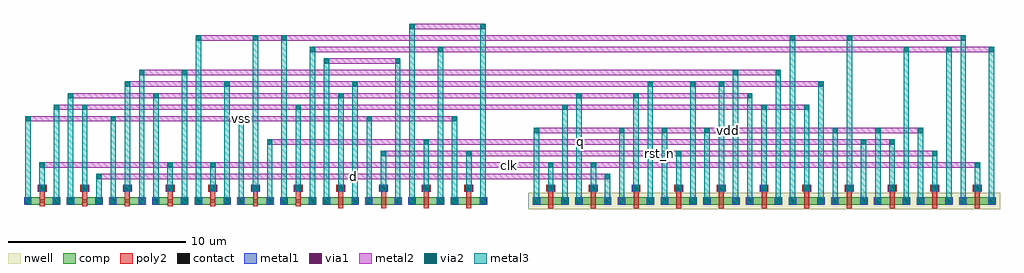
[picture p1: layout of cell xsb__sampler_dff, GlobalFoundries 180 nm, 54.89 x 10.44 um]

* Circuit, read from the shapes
.subckt xsb__sampler_dff clk d q rst_n vdd vss
XM1 n1 clk vss VSUBS nfet_03v3 w=0.22u l=0.28u
XM2 d n1 n2 VSUBS nfet_03v3 w=0.22u l=0.28u
XM3 n3 n4 vss VSUBS nfet_03v3 w=0.22u l=0.28u
XM4 n3 clk n2 VSUBS nfet_03v3 w=0.22u l=0.28u
XM5 n4 clk n5 VSUBS nfet_03v3 w=0.22u l=0.28u
XM6 q n5 vss VSUBS nfet_03v3 w=0.22u l=0.28u
XM7 n6 n1 n5 VSUBS nfet_03v3 w=0.22u l=0.28u
XM8 n4 n2 n7 VSUBS nfet_03v3 w=0.44u l=0.28u
XM9 n7 rst_n vss VSUBS nfet_03v3 w=0.44u l=0.28u
XM10 n6 q n8 VSUBS nfet_03v3 w=0.44u l=0.28u
XM11 n8 rst_n vss VSUBS nfet_03v3 w=0.44u l=0.28u
XM12 n1 clk vdd n9 pfet_03v3 w=0.44u l=0.28u
XM13 d clk n2 n9 pfet_03v3 w=0.44u l=0.28u
XM14 n4 n2 vdd n9 pfet_03v3 w=0.44u l=0.28u
XM15 n4 rst_n vdd n9 pfet_03v3 w=0.44u l=0.28u
XM16 n3 n4 vdd n9 pfet_03v3 w=0.44u l=0.28u
XM17 n3 n1 n2 n9 pfet_03v3 w=0.44u l=0.28u
XM18 n4 n1 n5 n9 pfet_03v3 w=0.44u l=0.28u
XM19 q n5 vdd n9 pfet_03v3 w=0.44u l=0.28u
XM20 n6 q vdd n9 pfet_03v3 w=0.44u l=0.28u
XM21 n6 rst_n vdd n9 pfet_03v3 w=0.44u l=0.28u
XM22 n6 clk n5 n9 pfet_03v3 w=0.44u l=0.28u
.ends

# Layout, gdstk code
import gdstk
lib = gdstk.Library(unit=1e-6, precision=1e-09)
def R(c, l, rs):  # rectangles x0, y0, x1, y1
    for r in rs: c.add(gdstk.rectangle(r[:2], r[2:], *l))
def A(c, l, x, y, w, h, nx, ny, dx, dy):  # array of equal rectangles
    R(c, l, [(x+i*dx, y+j*dy, x+i*dx+w, y+j*dy+h) for i in range(nx) for j in range(ny)])
nwell = (21, 0)
comp = (22, 0)
poly2 = (30, 0)
contact = (33, 0)
metal1 = (34, 0)
via1 = (35, 0)
metal2 = (36, 0)
via2 = (38, 0)
metal3 = (42, 0)

xsb__sampler_dff = lib.new_cell('xsb__sampler_dff')
R(xsb__sampler_dff, nwell, [(28.13,0.53,54.67,1.47)])
A(xsb__sampler_dff, comp, 16.58, 0.78, 2.04, 0.44, 4, 1, 2.4, 0)
A(xsb__sampler_dff, comp, 28.38, 0.78, 2.04, 0.44, 11, 1, 2.4, 0)
A(xsb__sampler_dff, comp, 0.66, 0.89, 0.28, 0.22, 7, 1, 2.4, 0)
R(xsb__sampler_dff, comp, [(-0.22,0.78,0.66,1.22), (0.94,0.78,1.82,1.22), (2.18,0.78,3.06,1.22), (3.34,0.78,4.22,1.22), (4.58,0.78,5.46,1.22), (5.74,0.78,6.62,1.22), (6.98,0.78,7.86,1.22), (8.14,0.78,9.02,1.22), (9.38,0.78,10.26,1.22), (10.54,0.78,11.42,1.22), (11.78,0.78,12.66,1.22), (12.94,0.78,13.82,1.22), (14.18,0.78,15.06,1.22), (15.34,0.78,16.22,1.22)])
A(xsb__sampler_dff, poly2, 17.46, 0.58, 0.28, 0.99, 4, 1, 2.4, 0)
A(xsb__sampler_dff, poly2, 29.26, 0.58, 0.28, 0.99, 11, 1, 2.4, 0)
A(xsb__sampler_dff, poly2, 0.66, 0.69, 0.28, 0.88, 7, 1, 2.4, 0)
A(xsb__sampler_dff, poly2, 0.55, 1.52, 0.5, 0.4, 11, 1, 2.4, 0)
A(xsb__sampler_dff, poly2, 29.15, 1.52, 0.5, 0.4, 11, 1, 2.4, 0)
A(xsb__sampler_dff, contact, 0.69, 1.61, 0.22, 0.22, 11, 1, 2.4, 0)
A(xsb__sampler_dff, contact, 29.29, 1.61, 0.22, 0.22, 11, 1, 2.4, 0)
R(xsb__sampler_dff, contact, [(-0.11,0.89,0.11,1.11), (1.49,0.89,1.71,1.11), (2.29,0.89,2.51,1.11), (3.89,0.89,4.11,1.11), (4.69,0.89,4.91,1.11), (6.29,0.89,6.51,1.11), (7.09,0.89,7.31,1.11), (8.69,0.89,8.91,1.11), (9.49,0.89,9.71,1.11), (11.09,0.89,11.31,1.11), (11.89,0.89,12.11,1.11), (13.49,0.89,13.71,1.11), (14.29,0.89,14.51,1.11), (15.89,0.89,16.11,1.11), (16.69,0.89,16.91,1.11), (18.29,0.89,18.51,1.11), (19.09,0.89,19.31,1.11), (20.69,0.89,20.91,1.11), (21.49,0.89,21.71,1.11), (23.09,0.89,23.31,1.11), (23.89,0.89,24.11,1.11), (25.49,0.89,25.71,1.11), (28.49,0.89,28.71,1.11), (30.09,0.89,30.31,1.11), (30.89,0.89,31.11,1.11), (32.49,0.89,32.71,1.11), (33.29,0.89,33.51,1.11), (34.89,0.89,35.11,1.11), (35.69,0.89,35.91,1.11), (37.29,0.89,37.51,1.11), (38.09,0.89,38.31,1.11), (39.69,0.89,39.91,1.11), (40.49,0.89,40.71,1.11), (42.09,0.89,42.31,1.11), (42.89,0.89,43.11,1.11), (44.49,0.89,44.71,1.11), (45.29,0.89,45.51,1.11), (46.89,0.89,47.11,1.11), (47.69,0.89,47.91,1.11), (49.29,0.89,49.51,1.11), (50.09,0.89,50.31,1.11), (51.69,0.89,51.91,1.11), (52.49,0.89,52.71,1.11), (54.09,0.89,54.31,1.11)])
A(xsb__sampler_dff, metal1, 0.6, 1.52, 0.4, 0.4, 11, 1, 2.4, 0)
A(xsb__sampler_dff, metal1, 29.2, 1.52, 0.4, 0.4, 11, 1, 2.4, 0)
R(xsb__sampler_dff, metal1, [(-0.2,0.8,0.2,1.2), (1.4,0.8,1.8,1.2), (2.2,0.8,2.6,1.2), (3.8,0.8,4.2,1.2), (4.6,0.8,5,1.2), (6.2,0.8,6.6,1.2), (7,0.8,7.4,1.2), (8.6,0.8,9,1.2), (9.4,0.8,9.8,1.2), (11,0.8,11.4,1.2), (11.8,0.8,12.2,1.2), (13.4,0.8,13.8,1.2), (14.2,0.8,14.6,1.2), (15.8,0.8,16.2,1.2), (16.6,0.8,17,1.2), (18.2,0.8,18.6,1.2), (19,0.8,19.4,1.2), (20.6,0.8,21,1.2), (21.4,0.8,21.8,1.2), (23,0.8,23.4,1.2), (23.8,0.8,24.2,1.2), (25.4,0.8,25.8,1.2), (28.4,0.8,28.8,1.2), (30,0.8,30.4,1.2), (30.8,0.8,31.2,1.2), (32.4,0.8,32.8,1.2), (33.2,0.8,33.6,1.2), (34.8,0.8,35.2,1.2), (35.6,0.8,36,1.2), (37.2,0.8,37.6,1.2), (38,0.8,38.4,1.2), (39.6,0.8,40,1.2), (40.4,0.8,40.8,1.2), (42,0.8,42.4,1.2), (42.8,0.8,43.2,1.2), (44.4,0.8,44.8,1.2), (45.2,0.8,45.6,1.2), (46.8,0.8,47.2,1.2), (47.6,0.8,48,1.2), (49.2,0.8,49.6,1.2), (50,0.8,50.4,1.2), (51.6,0.8,52,1.2), (52.4,0.8,52.8,1.2), (54,0.8,54.4,1.2)])
A(xsb__sampler_dff, via1, 0.67, 1.59, 0.26, 0.26, 11, 1, 2.4, 0)
A(xsb__sampler_dff, via1, 29.27, 1.59, 0.26, 0.26, 11, 1, 2.4, 0)
R(xsb__sampler_dff, via1, [(-0.13,0.87,0.13,1.13), (1.47,0.87,1.73,1.13), (2.27,0.87,2.53,1.13), (3.87,0.87,4.13,1.13), (4.67,0.87,4.93,1.13), (6.27,0.87,6.53,1.13), (7.07,0.87,7.33,1.13), (8.67,0.87,8.93,1.13), (9.47,0.87,9.73,1.13), (11.07,0.87,11.33,1.13), (11.87,0.87,12.13,1.13), (13.47,0.87,13.73,1.13), (14.27,0.87,14.53,1.13), (15.87,0.87,16.13,1.13), (16.67,0.87,16.93,1.13), (18.27,0.87,18.53,1.13), (19.07,0.87,19.33,1.13), (20.67,0.87,20.93,1.13), (21.47,0.87,21.73,1.13), (23.07,0.87,23.33,1.13), (23.87,0.87,24.13,1.13), (25.47,0.87,25.73,1.13), (28.47,0.87,28.73,1.13), (30.07,0.87,30.33,1.13), (30.87,0.87,31.13,1.13), (32.47,0.87,32.73,1.13), (33.27,0.87,33.53,1.13), (34.87,0.87,35.13,1.13), (35.67,0.87,35.93,1.13), (37.27,0.87,37.53,1.13), (38.07,0.87,38.33,1.13), (39.67,0.87,39.93,1.13), (40.47,0.87,40.73,1.13), (42.07,0.87,42.33,1.13), (42.87,0.87,43.13,1.13), (44.47,0.87,44.73,1.13), (45.27,0.87,45.53,1.13), (46.87,0.87,47.13,1.13), (47.67,0.87,47.93,1.13), (49.27,0.87,49.53,1.13), (50.07,0.87,50.33,1.13), (51.67,0.87,51.93,1.13), (52.47,0.87,52.73,1.13), (54.07,0.87,54.33,1.13)])
A(xsb__sampler_dff, metal2, 0.64, 1.56, 0.32, 0.32, 11, 1, 2.4, 0)
A(xsb__sampler_dff, metal2, 29.24, 1.56, 0.32, 0.32, 11, 1, 2.4, 0)
R(xsb__sampler_dff, metal2, [(-0.16,0.84,0.16,1.16), (1.44,0.84,1.76,1.16), (2.24,0.84,2.56,1.16), (3.84,0.84,4.16,1.16), (4.64,0.84,4.96,1.16), (6.24,0.84,6.56,1.16), (7.04,0.84,7.36,1.16), (8.64,0.84,8.96,1.16), (9.44,0.84,9.76,1.16), (11.04,0.84,11.36,1.16), (11.84,0.84,12.16,1.16), (13.44,0.84,13.76,1.16), (14.24,0.84,14.56,1.16), (15.84,0.84,16.16,1.16), (16.64,0.84,16.96,1.16), (18.24,0.84,18.56,1.16), (19.04,0.84,19.36,1.16), (20.64,0.84,20.96,1.16), (21.44,0.84,21.76,1.16), (23.04,0.84,23.36,1.16), (23.84,0.84,24.16,1.16), (25.44,0.84,25.76,1.16), (28.44,0.84,28.76,1.16), (30.04,0.84,30.36,1.16), (30.84,0.84,31.16,1.16), (32.44,0.84,32.76,1.16), (33.24,0.84,33.56,1.16), (34.84,0.84,35.16,1.16), (35.64,0.84,35.96,1.16), (37.24,0.84,37.56,1.16), (38.04,0.84,38.36,1.16), (39.64,0.84,39.96,1.16), (40.44,0.84,40.76,1.16), (42.04,0.84,42.36,1.16), (42.84,0.84,43.16,1.16), (44.44,0.84,44.76,1.16), (45.24,0.84,45.56,1.16), (46.84,0.84,47.16,1.16), (47.64,0.84,47.96,1.16), (49.24,0.84,49.56,1.16), (50.04,0.84,50.36,1.16), (51.64,0.84,51.96,1.16), (52.44,0.84,52.76,1.16), (54.04,0.84,54.36,1.16), (3.85,2.22,32.75,2.52), (0.65,2.87,53.55,3.17), (19.85,3.52,51.15,3.82), (13.45,4.17,48.75,4.47), (28.45,4.82,50.35,5.12), (-0.15,5.47,24.15,5.77), (1.45,6.12,43.95,6.42), (2.25,6.77,40.75,7.07), (5.45,7.42,44.75,7.72), (6.25,8.07,42.35,8.37), (16.65,8.72,20.95,9.02), (15.85,9.37,54.35,9.67), (9.45,10.02,52.75,10.32), (21.45,10.67,25.75,10.97)])
A(xsb__sampler_dff, via2, 0.67, 1.59, 0.26, 0.26, 11, 1, 2.4, 0)
A(xsb__sampler_dff, via2, 29.27, 1.59, 0.26, 0.26, 11, 1, 2.4, 0)
A(xsb__sampler_dff, via2, 33.27, 4.84, 0.26, 0.26, 3, 1, 2.4, 0)
A(xsb__sampler_dff, via2, 45.27, 4.84, 0.26, 0.26, 3, 1, 2.4, 0)
A(xsb__sampler_dff, via2, 4.67, 5.49, 0.26, 0.26, 3, 1, 7.2, 0)
A(xsb__sampler_dff, via2, 49.27, 9.39, 0.26, 0.26, 3, 1, 2.4, 0)
R(xsb__sampler_dff, via2, [(-0.13,0.87,0.13,1.13), (1.47,0.87,1.73,1.13), (2.27,0.87,2.53,1.13), (3.87,0.87,4.13,1.13), (4.67,0.87,4.93,1.13), (6.27,0.87,6.53,1.13), (7.07,0.87,7.33,1.13), (8.67,0.87,8.93,1.13), (9.47,0.87,9.73,1.13), (11.07,0.87,11.33,1.13), (11.87,0.87,12.13,1.13), (13.47,0.87,13.73,1.13), (14.27,0.87,14.53,1.13), (15.87,0.87,16.13,1.13), (16.67,0.87,16.93,1.13), (18.27,0.87,18.53,1.13), (19.07,0.87,19.33,1.13), (20.67,0.87,20.93,1.13), (21.47,0.87,21.73,1.13), (23.07,0.87,23.33,1.13), (23.87,0.87,24.13,1.13), (25.47,0.87,25.73,1.13), (28.47,0.87,28.73,1.13), (30.07,0.87,30.33,1.13), (30.87,0.87,31.13,1.13), (32.47,0.87,32.73,1.13), (33.27,0.87,33.53,1.13), (34.87,0.87,35.13,1.13), (35.67,0.87,35.93,1.13), (37.27,0.87,37.53,1.13), (38.07,0.87,38.33,1.13), (39.67,0.87,39.93,1.13), (40.47,0.87,40.73,1.13), (42.07,0.87,42.33,1.13), (42.87,0.87,43.13,1.13), (44.47,0.87,44.73,1.13), (45.27,0.87,45.53,1.13), (46.87,0.87,47.13,1.13), (47.67,0.87,47.93,1.13), (49.27,0.87,49.53,1.13), (50.07,0.87,50.33,1.13), (51.67,0.87,51.93,1.13), (52.47,0.87,52.73,1.13), (54.07,0.87,54.33,1.13), (3.87,2.24,4.13,2.5), (32.47,2.24,32.73,2.5), (0.67,2.89,0.93,3.15), (7.87,2.89,8.13,3.15), (10.27,2.89,10.53,3.15), (29.27,2.89,29.53,3.15), (31.67,2.89,31.93,3.15), (53.27,2.89,53.53,3.15), (19.87,3.54,20.13,3.8), (24.67,3.54,24.93,3.8), (36.47,3.54,36.73,3.8), (50.87,3.54,51.13,3.8), (13.47,4.19,13.73,4.45), (22.27,4.19,22.53,4.45), (46.87,4.19,47.13,4.45), (48.47,4.19,48.73,4.45), (28.47,4.84,28.73,5.1), (-0.13,5.49,0.13,5.75), (23.87,5.49,24.13,5.75), (1.47,6.14,1.73,6.4), (3.07,6.14,3.33,6.4), (15.07,6.14,15.33,6.4), (30.07,6.14,30.33,6.4), (41.27,6.14,41.53,6.4), (43.67,6.14,43.93,6.4), (2.27,6.79,2.53,7.05), (7.07,6.79,7.33,7.05), (17.47,6.79,17.73,7.05), (30.87,6.79,31.13,7.05), (34.07,6.79,34.33,7.05), (40.47,6.79,40.73,7.05), (5.47,7.44,5.73,7.7), (11.07,7.44,11.33,7.7), (18.27,7.44,18.53,7.7), (34.87,7.44,35.13,7.7), (37.27,7.44,37.53,7.7), (38.87,7.44,39.13,7.7), (44.47,7.44,44.73,7.7), (6.27,8.09,6.53,8.35), (8.67,8.09,8.93,8.35), (39.67,8.09,39.93,8.35), (42.07,8.09,42.33,8.35), (16.67,8.74,16.93,9), (20.67,8.74,20.93,9), (15.87,9.39,16.13,9.65), (23.07,9.39,23.33,9.65), (9.47,10.04,9.73,10.3), (12.67,10.04,12.93,10.3), (14.27,10.04,14.53,10.3), (42.87,10.04,43.13,10.3), (46.07,10.04,46.33,10.3), (52.47,10.04,52.73,10.3), (21.47,10.69,21.73,10.95), (25.47,10.69,25.73,10.95)])
A(xsb__sampler_dff, metal3, 4.65, 0.85, 0.3, 4.92, 3, 1, 7.2, 0)
A(xsb__sampler_dff, metal3, 33.25, 0.85, 0.3, 4.27, 3, 1, 2.4, 0)
A(xsb__sampler_dff, metal3, 45.25, 0.85, 0.3, 4.27, 3, 1, 2.4, 0)
A(xsb__sampler_dff, metal3, 49.25, 0.85, 0.3, 8.82, 3, 1, 2.4, 0)
R(xsb__sampler_dff, metal3, [(-0.15,0.85,0.15,5.77), (1.45,0.85,1.75,6.42), (2.25,0.85,2.55,7.07), (3.85,0.85,4.15,2.52), (6.25,0.85,6.55,8.37), (7.05,0.85,7.35,7.07), (8.65,0.85,8.95,8.37), (9.45,0.85,9.75,10.32), (11.05,0.85,11.35,7.72), (13.45,0.85,13.75,4.47), (14.25,0.85,14.55,10.32), (15.85,0.85,16.15,9.67), (16.65,0.85,16.95,9.02), (18.25,0.85,18.55,7.72), (20.65,0.85,20.95,9.02), (21.45,0.85,21.75,10.97), (23.05,0.85,23.35,9.67), (23.85,0.85,24.15,5.77), (25.45,0.85,25.75,10.97), (28.45,0.85,28.75,5.12), (30.05,0.85,30.35,6.42), (30.85,0.85,31.15,7.07), (32.45,0.85,32.75,2.52), (34.85,0.85,35.15,7.72), (37.25,0.85,37.55,7.72), (39.65,0.85,39.95,8.37), (40.45,0.85,40.75,7.07), (42.05,0.85,42.35,8.37), (42.85,0.85,43.15,10.32), (44.45,0.85,44.75,7.72), (46.85,0.85,47.15,4.47), (52.45,0.85,52.75,10.32), (0.65,1.57,0.95,3.17), (3.05,1.57,3.35,6.42), (5.45,1.57,5.75,7.72), (7.85,1.57,8.15,3.17), (10.25,1.57,10.55,3.17), (12.65,1.57,12.95,10.32), (15.05,1.57,15.35,6.42), (17.45,1.57,17.75,7.07), (19.85,1.57,20.15,3.82), (22.25,1.57,22.55,4.47), (24.65,1.57,24.95,3.82), (29.25,1.57,29.55,3.17), (31.65,1.57,31.95,3.17), (34.05,1.57,34.35,7.07), (36.45,1.57,36.75,3.82), (38.85,1.57,39.15,7.72), (41.25,1.57,41.55,6.42), (43.65,1.57,43.95,6.42), (46.05,1.57,46.35,10.32), (48.45,1.57,48.75,4.47), (50.85,1.57,51.15,3.82), (53.25,1.57,53.55,3.17)])
xsb__sampler_dff.add(gdstk.Label('d', (18.3,2.37), layer=36, texttype=10))
xsb__sampler_dff.add(gdstk.Label('clk', (27.1,3.02), layer=36, texttype=10))
xsb__sampler_dff.add(gdstk.Label('rst_n', (35.5,3.67), layer=36, texttype=10))
xsb__sampler_dff.add(gdstk.Label('q', (31.1,4.32), layer=36, texttype=10))
xsb__sampler_dff.add(gdstk.Label('vdd', (39.4,4.97), layer=36, texttype=10))
xsb__sampler_dff.add(gdstk.Label('vss', (12,5.62), layer=36, texttype=10))

lib.write_gds('xsb__sampler_dff.gds')
